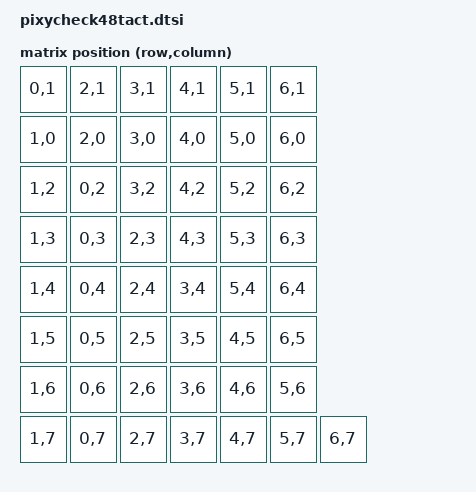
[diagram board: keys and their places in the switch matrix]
#include "pixycheck48tact-layouts.dtsi"
#include <dt-bindings/zmk/matrix_transform.h>

/ {
    matrix_transform0: matrix_transform0 {
        compatible = "zmk,matrix-transform";
        columns = <8>;
        rows = <7>;
        map = <
            RC(0,1) RC(2,1) RC(3,1) RC(4,1) RC(5,1) RC(6,1)
            RC(1,0) RC(2,0) RC(3,0) RC(4,0) RC(5,0) RC(6,0)
            RC(1,2) RC(0,2) RC(3,2) RC(4,2) RC(5,2) RC(6,2)
            RC(1,3) RC(0,3) RC(2,3) RC(4,3) RC(5,3) RC(6,3)
            RC(1,4) RC(0,4) RC(2,4) RC(3,4) RC(5,4) RC(6,4)
            RC(1,5) RC(0,5) RC(2,5) RC(3,5) RC(4,5) RC(6,5)
            RC(1,6) RC(0,6) RC(2,6) RC(3,6) RC(4,6) RC(5,6)
            RC(1,7) RC(0,7) RC(2,7) RC(3,7) RC(4,7) RC(5,7) RC(6,7)
        >;
    };
};

&physical_layout_pixycheck48tact {
    transform = <&matrix_transform0>;
};

